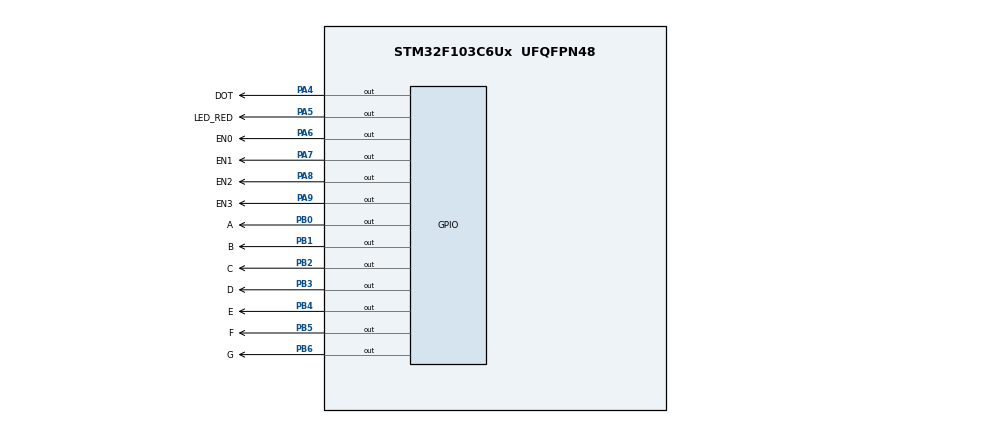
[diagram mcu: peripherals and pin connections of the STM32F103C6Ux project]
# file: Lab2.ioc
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Mcu.Family=STM32F1
Mcu.Name=STM32F103C6Ux
Mcu.Package=UFQFPN48
NVIC.PriorityGroup=NVIC_PRIORITYGROUP_4
NVIC.TIM2_IRQn=true\:0\:0\:false\:false\:true\:true\:true\:true
PA4.GPIO_Label=DOT
PA4.Signal=GPIO_Output
PA5.GPIO_Label=LED_RED
PA5.Signal=GPIO_Output
PA6.GPIO_Label=EN0
PA6.PinState=GPIO_PIN_RESET
PA6.Signal=GPIO_Output
PA7.GPIO_Label=EN1
PA7.PinState=GPIO_PIN_SET
PA7.Signal=GPIO_Output
PA8.GPIO_Label=EN2
PA8.PinState=GPIO_PIN_SET
PA8.Signal=GPIO_Output
PA9.GPIO_Label=EN3
PA9.PinState=GPIO_PIN_SET
PA9.Signal=GPIO_Output
PB0.GPIO_Label=A
PB0.PinState=GPIO_PIN_RESET
PB0.Signal=GPIO_Output
PB1.GPIO_Label=B
PB1.PinState=GPIO_PIN_RESET
PB1.Signal=GPIO_Output
PB2.GPIO_Label=C
PB2.PinState=GPIO_PIN_RESET
PB2.Signal=GPIO_Output
PB3.GPIO_Label=D
PB3.PinState=GPIO_PIN_RESET
PB3.Signal=GPIO_Output
PB4.GPIO_Label=E
PB4.PinState=GPIO_PIN_RESET
PB4.Signal=GPIO_Output
PB5.GPIO_Label=F
PB5.PinState=GPIO_PIN_RESET
PB5.Signal=GPIO_Output
PB6.GPIO_Label=G
PB6.PinState=GPIO_PIN_RESET
PB6.Signal=GPIO_Output
ProjectManager.HeapSize=0x200
ProjectManager.StackSize=0x400
ProjectManager.TargetToolchain=STM32CubeIDE
RCC.APB1Freq_Value=8000000
RCC.APB2Freq_Value=8000000
TIM2.Period=10
TIM2.Prescaler=7999
VP_TIM2_VS_ClockSourceINT.Mode=Internal
board=custom

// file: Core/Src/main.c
/* USER CODE BEGIN Header */
/**
  ******************************************************************************
  * @file           : main.c
  * @brief          : Main program body
  ******************************************************************************
  * @attention
  *
  * Copyright (c) 2023 STMicroelectronics.
  * All rights reserved.
  *
  * This software is licensed under terms that can be found in the LICENSE file
  * in the root directory of this software component.
  * If no LICENSE file comes with this software, it is provided AS-IS.
  *
  ******************************************************************************
  */
/* USER CODE END Header */
#include "main.h"

/* USER CODE BEGIN Includes */
#include "software_timer.h"
/* USER CODE END Includes */

TIM_HandleTypeDef htim2;

void SystemClock_Config(void);
static void MX_GPIO_Init(void);
static void MX_TIM2_Init(void);

/* USER CODE BEGIN 0 */
void display7SEG(int num){
	switch(num){
		case 0:
			HAL_GPIO_WritePin ( A_GPIO_Port , A_Pin , GPIO_PIN_RESET ) ;
			HAL_GPIO_WritePin ( B_GPIO_Port , B_Pin , GPIO_PIN_RESET ) ;
			HAL_GPIO_WritePin ( C_GPIO_Port , C_Pin , GPIO_PIN_RESET ) ;
			HAL_GPIO_WritePin ( D_GPIO_Port , D_Pin , GPIO_PIN_RESET ) ;
			HAL_GPIO_WritePin ( E_GPIO_Port , E_Pin , GPIO_PIN_RESET ) ;
			HAL_GPIO_WritePin ( F_GPIO_Port , F_Pin , GPIO_PIN_RESET ) ;
			HAL_GPIO_WritePin ( G_GPIO_Port , G_Pin , GPIO_PIN_SET ) ;
			break;
		case 1:
			HAL_GPIO_WritePin ( A_GPIO_Port , A_Pin , GPIO_PIN_SET ) ;
			HAL_GPIO_WritePin ( B_GPIO_Port , B_Pin , GPIO_PIN_RESET ) ;
			HAL_GPIO_WritePin ( C_GPIO_Port , C_Pin , GPIO_PIN_RESET ) ;
			HAL_GPIO_WritePin ( D_GPIO_Port , D_Pin , GPIO_PIN_SET ) ;
			HAL_GPIO_WritePin ( E_GPIO_Port , E_Pin , GPIO_PIN_SET ) ;
			HAL_GPIO_WritePin ( F_GPIO_Port , F_Pin , GPIO_PIN_SET ) ;
			HAL_GPIO_WritePin ( G_GPIO_Port , G_Pin , GPIO_PIN_SET ) ;
			break;
		case 2:
			HAL_GPIO_WritePin ( A_GPIO_Port , A_Pin , GPIO_PIN_RESET ) ;
			HAL_GPIO_WritePin ( B_GPIO_Port , B_Pin , GPIO_PIN_RESET ) ;
			HAL_GPIO_WritePin ( C_GPIO_Port , C_Pin , GPIO_PIN_SET ) ;
			HAL_GPIO_WritePin ( D_GPIO_Port , D_Pin , GPIO_PIN_RESET ) ;
			HAL_GPIO_WritePin ( E_GPIO_Port , E_Pin , GPIO_PIN_RESET ) ;
			HAL_GPIO_WritePin ( F_GPIO_Port , F_Pin , GPIO_PIN_SET ) ;
			HAL_GPIO_WritePin ( G_GPIO_Port , G_Pin , GPIO_PIN_RESET ) ;
			break;
		case 3:
			HAL_GPIO_WritePin ( A_GPIO_Port , A_Pin , GPIO_PIN_RESET ) ;
			HAL_GPIO_WritePin ( B_GPIO_Port , B_Pin , GPIO_PIN_RESET ) ;
			HAL_GPIO_WritePin ( C_GPIO_Port , C_Pin , GPIO_PIN_RESET ) ;
			HAL_GPIO_WritePin ( D_GPIO_Port , D_Pin , GPIO_PIN_RESET ) ;
			HAL_GPIO_WritePin ( E_GPIO_Port , E_Pin , GPIO_PIN_SET ) ;
			HAL_GPIO_WritePin ( F_GPIO_Port , F_Pin , GPIO_PIN_SET ) ;
			HAL_GPIO_WritePin ( G_GPIO_Port , G_Pin , GPIO_PIN_RESET ) ;
			break;
		case 4:
			HAL_GPIO_WritePin ( A_GPIO_Port , A_Pin , GPIO_PIN_SET ) ;
			HAL_GPIO_WritePin ( B_GPIO_Port , B_Pin , GPIO_PIN_RESET ) ;
			HAL_GPIO_WritePin ( C_GPIO_Port , C_Pin , GPIO_PIN_RESET ) ;
			HAL_GPIO_WritePin ( D_GPIO_Port , D_Pin , GPIO_PIN_SET ) ;
			HAL_GPIO_WritePin ( E_GPIO_Port , E_Pin , GPIO_PIN_SET ) ;
			HAL_GPIO_WritePin ( F_GPIO_Port , F_Pin , GPIO_PIN_RESET ) ;
			HAL_GPIO_WritePin ( G_GPIO_Port , G_Pin , GPIO_PIN_RESET ) ;
			break;
		case 5:
			HAL_GPIO_WritePin ( A_GPIO_Port , A_Pin , GPIO_PIN_RESET ) ;
			HAL_GPIO_WritePin ( B_GPIO_Port , B_Pin , GPIO_PIN_SET ) ;
			HAL_GPIO_WritePin ( C_GPIO_Port , C_Pin , GPIO_PIN_RESET ) ;
			HAL_GPIO_WritePin ( D_GPIO_Port , D_Pin , GPIO_PIN_RESET ) ;
			HAL_GPIO_WritePin ( E_GPIO_Port , E_Pin , GPIO_PIN_SET ) ;
			HAL_GPIO_WritePin ( F_GPIO_Port , F_Pin , GPIO_PIN_RESET ) ;
			HAL_GPIO_WritePin ( G_GPIO_Port , G_Pin , GPIO_PIN_RESET ) ;
			break;
		case 6:
			HAL_GPIO_WritePin ( A_GPIO_Port , A_Pin , GPIO_PIN_RESET ) ;
			HAL_GPIO_WritePin ( B_GPIO_Port , B_Pin , GPIO_PIN_SET ) ;
			HAL_GPIO_WritePin ( C_GPIO_Port , C_Pin , GPIO_PIN_RESET ) ;
			HAL_GPIO_WritePin ( D_GPIO_Port , D_Pin , GPIO_PIN_RESET ) ;
			HAL_GPIO_WritePin ( E_GPIO_Port , E_Pin , GPIO_PIN_RESET ) ;
			HAL_GPIO_WritePin ( F_GPIO_Port , F_Pin , GPIO_PIN_RESET ) ;
			HAL_GPIO_WritePin ( G_GPIO_Port , G_Pin , GPIO_PIN_RESET ) ;
			break;
		case 7:
			HAL_GPIO_WritePin ( A_GPIO_Port , A_Pin , GPIO_PIN_RESET ) ;
			HAL_GPIO_WritePin ( B_GPIO_Port , B_Pin , GPIO_PIN_RESET ) ;
			HAL_GPIO_WritePin ( C_GPIO_Port , C_Pin , GPIO_PIN_RESET ) ;
			HAL_GPIO_WritePin ( D_GPIO_Port , D_Pin , GPIO_PIN_SET ) ;
			HAL_GPIO_WritePin ( E_GPIO_Port , E_Pin , GPIO_PIN_SET ) ;
			HAL_GPIO_WritePin ( F_GPIO_Port , F_Pin , GPIO_PIN_SET ) ;
			HAL_GPIO_WritePin ( G_GPIO_Port , G_Pin , GPIO_PIN_SET ) ;
			break;
		case 8:
			HAL_GPIO_WritePin ( A_GPIO_Port , A_Pin , GPIO_PIN_RESET ) ;
			HAL_GPIO_WritePin ( B_GPIO_Port , B_Pin , GPIO_PIN_RESET ) ;
			HAL_GPIO_WritePin ( C_GPIO_Port , C_Pin , GPIO_PIN_RESET ) ;
			HAL_GPIO_WritePin ( D_GPIO_Port , D_Pin , GPIO_PIN_RESET ) ;
			HAL_GPIO_WritePin ( E_GPIO_Port , E_Pin , GPIO_PIN_RESET ) ;
			HAL_GPIO_WritePin ( F_GPIO_Port , F_Pin , GPIO_PIN_RESET ) ;
			HAL_GPIO_WritePin ( G_GPIO_Port , G_Pin , GPIO_PIN_RESET ) ;
			break;
		case 9:
			HAL_GPIO_WritePin ( A_GPIO_Port , A_Pin , GPIO_PIN_RESET ) ;
			HAL_GPIO_WritePin ( B_GPIO_Port , B_Pin , GPIO_PIN_RESET ) ;
			HAL_GPIO_WritePin ( C_GPIO_Port , C_Pin , GPIO_PIN_RESET ) ;
			HAL_GPIO_WritePin ( D_GPIO_Port , D_Pin , GPIO_PIN_RESET ) ;
			HAL_GPIO_WritePin ( E_GPIO_Port , E_Pin , GPIO_PIN_SET ) ;
			HAL_GPIO_WritePin ( F_GPIO_Port , F_Pin , GPIO_PIN_RESET ) ;
			HAL_GPIO_WritePin ( G_GPIO_Port , G_Pin , GPIO_PIN_RESET ) ;
			break;
		default:
			break;
	}
}
/* USER CODE END 0 */

int main(void)
{

  /* MCU Configuration--------------------------------------------------------*/

  /* Reset of all peripherals, Initializes the Flash interface and the Systick. */
  HAL_Init();

  /* Configure the system clock */
  SystemClock_Config();

  /* Initialize all configured peripherals */
  MX_GPIO_Init();
  MX_TIM2_Init();
  /* USER CODE BEGIN 2 */
  setTimer(0, 100);
  setTimer(1, 50);
  HAL_TIM_Base_Start_IT(&htim2);
  int next_state = 0;

  /* USER CODE END 2 */

  /* Infinite loop */
  /* USER CODE BEGIN WHILE */
  while (1)
  {
	  if(timer_flag[0] == 1){
		  HAL_GPIO_TogglePin(GPIOA, LED_RED_Pin);
		  HAL_GPIO_TogglePin(GPIOA, DOT_Pin);
		  setTimer(0, 100);
	  }
	  if(timer_flag[1] == 1){
		  switch(next_state){
		  	  case 0:
		  		  HAL_GPIO_WritePin(GPIOA, EN0_Pin, RESET);
		  		  HAL_GPIO_WritePin(GPIOA, EN3_Pin, SET);
		  		  display7SEG(1);
		  		  next_state = 1;
		  		  break;
		  	  case 1:
		  		  HAL_GPIO_WritePin(GPIOA, EN1_Pin, RESET);
		  		  HAL_GPIO_WritePin(GPIOA, EN0_Pin, SET);
		  		  display7SEG(2);
		  		  next_state = 2;
		  		  break;
		  	  case 2:
		  		  HAL_GPIO_WritePin(GPIOA, EN2_Pin, RESET);
		  		  HAL_GPIO_WritePin(GPIOA, EN1_Pin, SET);
		  		  display7SEG(3);
		  		  next_state = 3;
		  		  break;
		  	  case 3:
		  		  HAL_GPIO_WritePin(GPIOA, EN3_Pin, RESET);
		  		  HAL_GPIO_WritePin(GPIOA, EN2_Pin, SET);
		  		  display7SEG(0);
		  		  next_state = 0;
		  		  break;
		  }
		  setTimer(1, 50);
	  }
    /* USER CODE END WHILE */

  }
}

void SystemClock_Config(void)
{
  RCC_OscInitTypeDef RCC_OscInitStruct = {0};
  RCC_ClkInitTypeDef RCC_ClkInitStruct = {0};

  /** Initializes the RCC Oscillators according to the specified parameters
  * in the RCC_OscInitTypeDef structure.
  */
  RCC_OscInitStruct.OscillatorType = RCC_OSCILLATORTYPE_HSI;
  RCC_OscInitStruct.HSIState = RCC_HSI_ON;
  RCC_OscInitStruct.HSICalibrationValue = RCC_HSICALIBRATION_DEFAULT;
  RCC_OscInitStruct.PLL.PLLState = RCC_PLL_NONE;
  if (HAL_RCC_OscConfig(&RCC_OscInitStruct) != HAL_OK)
  {
    Error_Handler();
  }

  /** Initializes the CPU, AHB and APB buses clocks
  */
  RCC_ClkInitStruct.ClockType = RCC_CLOCKTYPE_HCLK|RCC_CLOCKTYPE_SYSCLK
                              |RCC_CLOCKTYPE_PCLK1|RCC_CLOCKTYPE_PCLK2;
  RCC_ClkInitStruct.SYSCLKSource = RCC_SYSCLKSOURCE_HSI;
  RCC_ClkInitStruct.AHBCLKDivider = RCC_SYSCLK_DIV1;
  RCC_ClkInitStruct.APB1CLKDivider = RCC_HCLK_DIV1;
  RCC_ClkInitStruct.APB2CLKDivider = RCC_HCLK_DIV1;

  if (HAL_RCC_ClockConfig(&RCC_ClkInitStruct, FLASH_LATENCY_0) != HAL_OK)
  {
    Error_Handler();
  }
}

static void MX_TIM2_Init(void)
{

  TIM_ClockConfigTypeDef sClockSourceConfig = {0};
  TIM_MasterConfigTypeDef sMasterConfig = {0};

  htim2.Instance = TIM2;
  htim2.Init.Prescaler = 7999;
  htim2.Init.CounterMode = TIM_COUNTERMODE_UP;
  htim2.Init.Period = 10;
  htim2.Init.ClockDivision = TIM_CLOCKDIVISION_DIV1;
  htim2.Init.AutoReloadPreload = TIM_AUTORELOAD_PRELOAD_DISABLE;
  if (HAL_TIM_Base_Init(&htim2) != HAL_OK)
  {
    Error_Handler();
  }
  sClockSourceConfig.ClockSource = TIM_CLOCKSOURCE_INTERNAL;
  if (HAL_TIM_ConfigClockSource(&htim2, &sClockSourceConfig) != HAL_OK)
  {
    Error_Handler();
  }
  sMasterConfig.MasterOutputTrigger = TIM_TRGO_RESET;
  sMasterConfig.MasterSlaveMode = TIM_MASTERSLAVEMODE_DISABLE;
  if (HAL_TIMEx_MasterConfigSynchronization(&htim2, &sMasterConfig) != HAL_OK)
  {
    Error_Handler();
  }

}

static void MX_GPIO_Init(void)
{
  GPIO_InitTypeDef GPIO_InitStruct = {0};

  /* GPIO Ports Clock Enable */
  __HAL_RCC_GPIOA_CLK_ENABLE();
  __HAL_RCC_GPIOB_CLK_ENABLE();

  /*Configure GPIO pin Output Level */
  HAL_GPIO_WritePin(GPIOA, DOT_Pin|LED_RED_Pin|EN0_Pin, GPIO_PIN_RESET);

  /*Configure GPIO pin Output Level */
  HAL_GPIO_WritePin(GPIOA, EN1_Pin|EN2_Pin|EN3_Pin, GPIO_PIN_SET);

  /*Configure GPIO pin Output Level */
  HAL_GPIO_WritePin(GPIOB, A_Pin|B_Pin|C_Pin|D_Pin
                          |E_Pin|F_Pin|G_Pin, GPIO_PIN_RESET);

  /*Configure GPIO pins : DOT_Pin LED_RED_Pin EN0_Pin EN1_Pin
                           EN2_Pin EN3_Pin */
  GPIO_InitStruct.Pin = DOT_Pin|LED_RED_Pin|EN0_Pin|EN1_Pin
                          |EN2_Pin|EN3_Pin;
  GPIO_InitStruct.Mode = GPIO_MODE_OUTPUT_PP;
  GPIO_InitStruct.Pull = GPIO_NOPULL;
  GPIO_InitStruct.Speed = GPIO_SPEED_FREQ_LOW;
  HAL_GPIO_Init(GPIOA, &GPIO_InitStruct);

  /*Configure GPIO pins : A_Pin B_Pin C_Pin D_Pin
                           E_Pin F_Pin G_Pin */
  GPIO_InitStruct.Pin = A_Pin|B_Pin|C_Pin|D_Pin
                          |E_Pin|F_Pin|G_Pin;
  GPIO_InitStruct.Mode = GPIO_MODE_OUTPUT_PP;
  GPIO_InitStruct.Pull = GPIO_NOPULL;
  GPIO_InitStruct.Speed = GPIO_SPEED_FREQ_LOW;
  HAL_GPIO_Init(GPIOB, &GPIO_InitStruct);

}

/* USER CODE BEGIN 4 */
void HAL_TIM_PeriodElapsedCallback(TIM_HandleTypeDef *htim){
	timerRun(0);
	timerRun(1);
}
/* USER CODE END 4 */

void Error_Handler(void)
{
  __disable_irq();
  while (1)
  {
  }
}
